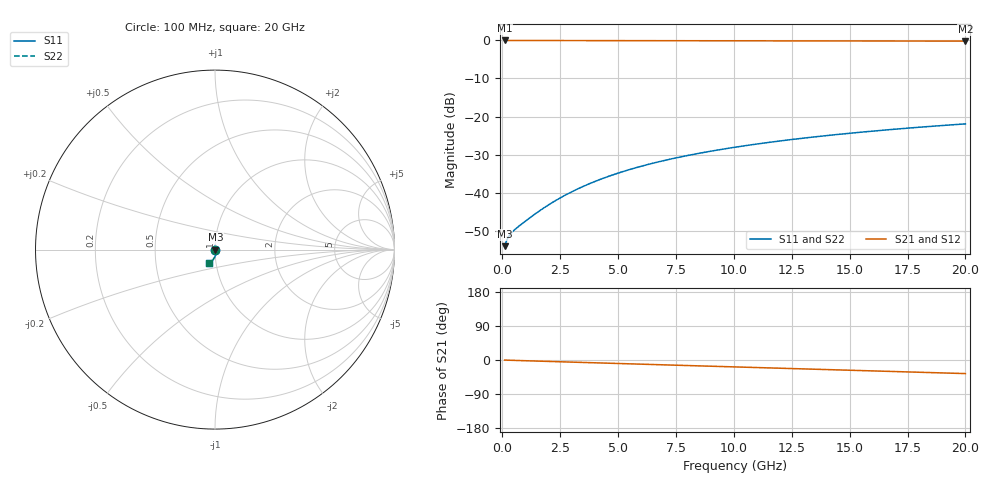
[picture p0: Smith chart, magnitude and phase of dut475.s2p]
! Touchstone file exported from HFSS 2026.1.0
!  File:  C:/ffzhzh/LocalFiles/Ansys_Project_Files/temp_train_TMRDL_475_1783006264_46388.aedt
!  Generated:  11:32:14 PM Jul  2, 2026
!  Design:  TMRDL
!  Project:  temp_train_TMRDL_475_1783006264_46388
! Variables:
!  h_bsmrdl = 2um
!  h_ox = 20um
!  h_rdl = 5um
!  h_sub = 80um
!  h_tmrdl = 5.04um
!  h_tsv = 80um
!  h_via = 3um
!  l_bsmrdl = 300um
!  l_sub = 1036.01um
!  l_tmrdl = 636.01um
!  m_sub = 200um
!  pitch = 31.81um
!  r_tsv = 6um
!  s_tmrdl = 10um
!  w_bsmrdl = 18um
!  w_sub = 500um
!  w_tmrdl = 27.76um
!  x_tsv_center1 = 649.89um
!  x_tsv_center2 = 967.89um
!  x_tsv_center3 = 1631.66um
!  x_tsv_center4 = 1949.66um
!  x_tsv_center5 = 2613.43um
!  x_tsv_center6 = 2931.43um
# GHz S MA R 50.000000
! Terminal data exported
! Port[1] = TM_RDL1_1_T1
! Port[2] = TM_RDL1_1_T2
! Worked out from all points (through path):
!   200 points, 100 MHz to 20 GHz, reference 50 ohm
!   highest |S21| = -0.02 dB at 100 MHz (marker M1); lowest = -0.2 dB at 20 GHz (marker M2)
!   group delay of S21, straight-line fit = 4.96 ps
!   lowest |S11| = -54.0 dB at 100 MHz (marker M3), VSWR 1.00, Z = 50.2 + j0.0308 ohm
!   |S11| at or under -10 dB: start of sweep to end of sweep
!   |S22| runs from -54.0 to -21.9 dB; largest |S21 - S12| = 3.1e-15
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0.1  0.001994 8.8  0.998 -0.2  0.998 -0.2  0.001994 8.8
! Gamma 0 0 0 0
! Port Impedance 50 0 50 0
0.2  0.002411 6.9  0.9976 -0.4  0.9976 -0.4  0.002411 6.9
0.3  0.002745 0.9  0.9973 -0.6  0.9973 -0.6  0.002745 0.9
0.4  0.002999 -5.6  0.997 -0.8  0.997 -0.8  0.002999 -5.6
0.6  0.003413 -16.9  0.9967 -1.2  0.9967 -1.2  0.003413 -16.9
1  0.004249 -33.0  0.9963 -1.9  0.9963 -1.9  0.004249 -33.0
1.6  0.005776 -47.2  0.9958 -3.0  0.9958 -3.0  0.005776 -47.2
2.2  0.007582 -55.4  0.9952 -4.1  0.9952 -4.1  0.007583 -55.4
2.8  0.009601 -60.9  0.9945 -5.3  0.9945 -5.3  0.009603 -60.9
3.5  0.01216 -65.7  0.9937 -6.5  0.9937 -6.5  0.01216 -65.7
4.2  0.01488 -69.5  0.9928 -7.8  0.9928 -7.8  0.01489 -69.5
5  0.01813 -73.3  0.9919 -9.3  0.9919 -9.3  0.01813 -73.3
5.9  0.02189 -77.1  0.9909 -10.9  0.9909 -10.9  0.0219 -77.0
6.8  0.02571 -80.4  0.99 -12.5  0.99 -12.5  0.02572 -80.4
7.5  0.02871 -82.9  0.9893 -13.7  0.9893 -13.7  0.02872 -82.8
8.3  0.03214 -85.4  0.9885 -15.2  0.9885 -15.2  0.03216 -85.4
10.1  0.03986 -90.7  0.9869 -18.4  0.9869 -18.4  0.03988 -90.7
11.7  0.04667 -95.0  0.9855 -21.2  0.9855 -21.2  0.04669 -94.9
13.4  0.05382 -99.2  0.9841 -24.2  0.9841 -24.2  0.05385 -99.1
15  0.06044 -102.9  0.9828 -27.0  0.9828 -27.0  0.06047 -102.8
16.7  0.06734 -106.7  0.9813 -30.0  0.9813 -30.0  0.06738 -106.6
20  0.08021 -113.8  0.9785 -35.9  0.9785 -35.9  0.08026 -113.6
